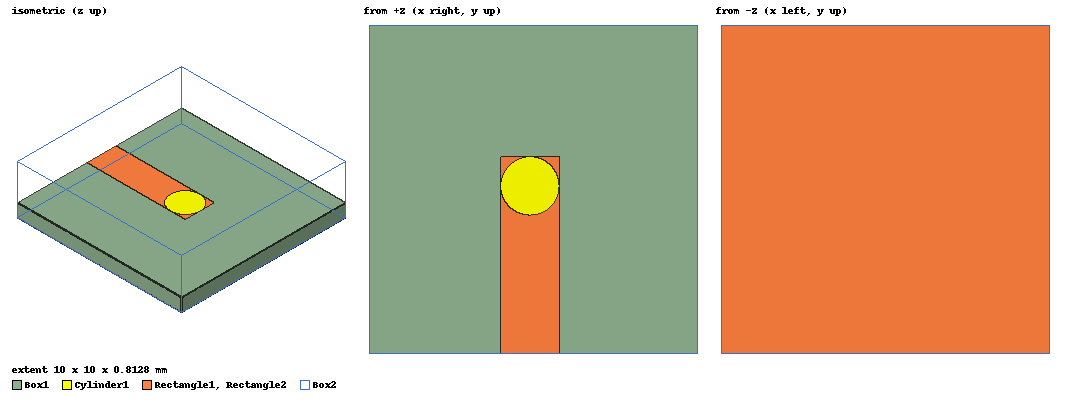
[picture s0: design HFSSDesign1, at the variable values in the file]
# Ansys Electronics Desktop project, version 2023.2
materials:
  vacuum: permittivity=1
  copper: permeability=0.999991 conductivity=58000000
  Rogers RO4003 (tm): permittivity=3.55 dielectric_loss_tangent=0.0027

design HFSSDesign1 (HFSS, HFSS Terminal Network, model units mm)
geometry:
  Box1 [Rogers RO4003 (tm)] = box(corner=(0mm, 0mm, 0mm), size=(10mm, 10mm, 32mil))
  Box2 [vacuum] = box(corner=(0mm, 0mm, 0mm), size=(10mm, 10mm, 3mm))
  Rectangle1 = rectangle(corner=(0mm, 0mm, 0mm), x_size=10mm, y_size=10mm)
  Rectangle2 = rectangle(corner=(4mm, 0mm, 32mil), x_size=70mil, y_size=6mm)
  Cylinder1 [copper] = cylinder(axis=Z, base_centre=(4mm+(70mil/2), 6mm-(70mil/2), 0mm), radius=70mil/2, height=32mil)
  Cylinder2 = cylinder(axis=Z, base_centre=(4mm+(70mil/2), 6mm-(70mil/2), 0mm), radius=70mil/2, height=32mil)
  Cylinder2_1 = Cylinder2.copy()
  Box1.subtract(Cylinder2_1)
  Rectangle2.subtract(Cylinder2)
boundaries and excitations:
  FiniteCond1: Finite Conductivity Objects=Rectangle1 Conductivity=58000000 Permeability=1 IsInternal
  FiniteCond2: Finite Conductivity Objects=Rectangle2 Conductivity=58000000 Permeability=1 IsInternal
  1: Wave Port Faces=Box2.face(-y) WavePortType=Modal NumModes=1 Modes{Mode1{CharImp=Zpi}}
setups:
  Setup1: HfssDriven Frequency=5GHz MaxDeltaS=0.02 MaximumPasses=10 MinimumPasses=1 MinimumConvergedPasses=1 PercentRefinement=30 BasisOrder=1 PortAccuracy=2 DrivenSolverType="Direct Solver"
    sweep Sweep: 0.5GHz to 2GHz, 1000 points; Type=Interpolating InterpTolerance=0.5 InterpMaxSolns=250 PassivityErrorTolerance=0.0001
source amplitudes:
  1:1: 1V 0deg
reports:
  Terminal S Parameter Chart 1: St(1,1) on Setup1 : Sweep [Freq=all]
